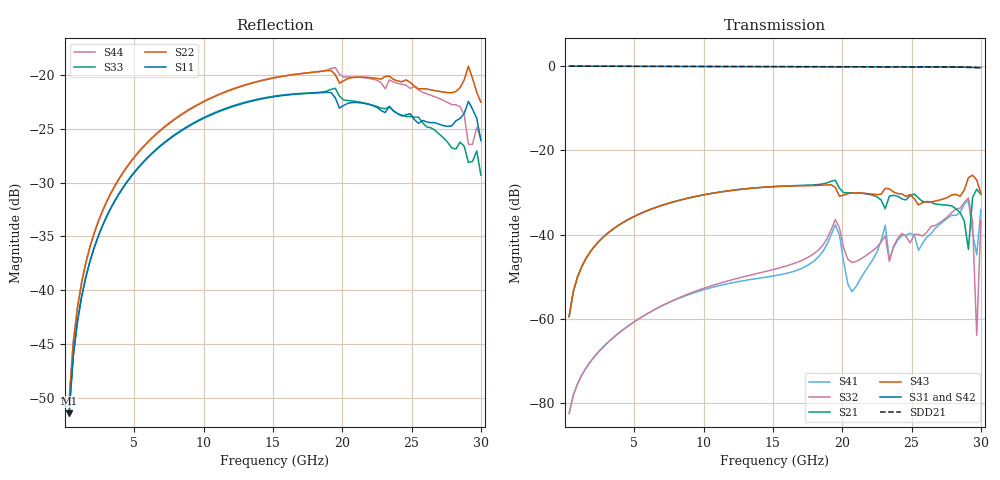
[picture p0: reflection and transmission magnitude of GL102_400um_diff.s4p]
! Created Thu Apr 22 16:07:59 2021
! List of port names and net name(s): example Port n = <port_name> <net_name1> <net_name2> ...
! Port 1 = P1 P3 gnd!
! Port 2 = P2 N__0 gnd!
! Port 3 = P3 P3 P7
! Port 4 = P4 N__0 P8
# hz S ri R 50
! 4 Port Network Data from data block
! freq  reS11  imS11  reS12  imS12  reS13  imS13  reS14  imS14
!  reS21  imS21  reS22  imS22  reS23  imS23  reS24  imS24
!  reS31  imS31  reS32  imS32  reS33  imS33  reS34  imS34
!  reS41  imS41  reS42  imS42  reS43  imS43  reS44  imS44
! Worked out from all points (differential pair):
!   100 points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, 300 MHz to 30 GHz, reference 50 ohm
!   strongest paths, dB at 300 MHz, 7.8 GHz, 15.3 GHz, 22.8 GHz, 30 GHz:
!     S31: 0.0, -0.1, -0.1, -0.2, -0.4
!     S42: 0.0, -0.1, -0.1, -0.2, -0.3
!     S43: -59.4, -32.2, -28.6, -30.4, -30.2
!     S21: -59.4, -32.2, -28.5, -31.7, -30.4
!     S32: -82.4, -55.6, -48.0, -41.8, -36.6
!     S41: -82.4, -55.7, -49.6, -41.5, -34.0
!   taken as a pair (ports 1,2 in; 3,4 out), SDD21 dB: 0.0, -0.1, -0.1, -0.2, -0.4
!   lowest |S11| = -51.5 dB at 300 MHz (marker M1), VSWR 1.01, Z = 50.1 + j0.259 ohm
!   |S11| at or under -10 dB: start of sweep to end of sweep
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3e8  0.000668 0.00259  8.18e-05 0.00106  0.9989 -0.026  -4.16e-05 -6.36e-05
     8.18e-05 0.00106  0.000674 0.00297  -4.14e-05 -6.36e-05  0.9989 -0.0262
     0.9989 -0.026  -4.14e-05 -6.36e-05  0.000672 0.00259  6.5e-05 0.00106
     -4.16e-05 -6.36e-05  0.9989 -0.0262  6.5e-05 0.00106  0.000692 0.00297
5.1e9  0.0156 0.0323  0.0092 0.014  0.9037 -0.415  -0.000939 -0.000167
       0.0092 0.014  0.0168 0.0387  -0.00092 -0.000223  0.9026 -0.4168
       0.9037 -0.415  -0.00092 -0.000223  0.0173 0.0316  0.00519 0.016
       -0.000939 -0.000167  0.9026 -0.4168  0.00519 0.016  0.0216 0.0366
1.95e10  0.0785 -0.000384  0.027 -0.035  -0.0771 -0.9706  -0.00459 0.0123
         0.027 -0.035  0.0997 0.0129  -0.00712 0.0133  -0.082 -0.9673
         -0.0771 -0.9706  -0.00712 0.0133  0.0825 -0.0277  0.0348 0.0106
         -0.00459 0.0123  -0.082 -0.9673  0.0348 0.0106  0.0976 -0.0475
2.07e10  0.0744 0.00623  0.0177 -0.026  -0.1722 -0.9663  -0.000631 0.00201
         0.0177 -0.026  0.0956 0.0193  -0.00106 0.00457  -0.1767 -0.9636
         -0.1722 -0.9663  -0.00106 0.00457  0.0694 -0.0308  0.0265 0.0165
         -0.000631 0.00201  -0.1767 -0.9636  0.0265 0.0165  0.0837 -0.0513
2.91e10  0.0755 0.00434  -0.00455 -0.00493  -0.7654 -0.5818  0.00355 0.0254
         -0.00455 -0.00493  0.1102 -0.000618  0.00707 0.0264  -0.7581 -0.5663
         -0.7654 -0.5818  0.00707 0.0264  -0.0159 -0.0359  0.0111 0.0462
         0.00355 0.0254  -0.7581 -0.5663  0.0111 0.0462  -0.0232 -0.0416
2.97e10  0.0619 -0.0125  -0.0337 -0.00822  -0.7925 -0.5474  -0.00515 -0.0026
         -0.0337 -0.00822  0.0812 -0.0189  -6.58e-05 0.000632  -0.7906 -0.5506
         -0.7925 -0.5474  -6.58e-05 0.000632  -0.0228 -0.0382  0.0313 0.0316
         -0.00515 -0.0026  -0.7906 -0.5506  0.0313 0.0316  -0.0152 -0.0551
3e10  0.0472 -0.0153  -0.0296 0.00548  -0.7988 -0.5329  -0.0187 0.00684
      -0.0296 0.00548  0.0727 -0.0182  -0.0133 0.00649  -0.8038 -0.5318
      -0.7988 -0.5329  -0.0133 0.00649  -0.0248 -0.0238  0.0242 0.0193
      -0.0187 0.00684  -0.8038 -0.5318  0.0242 0.0193  -0.0187 -0.047
